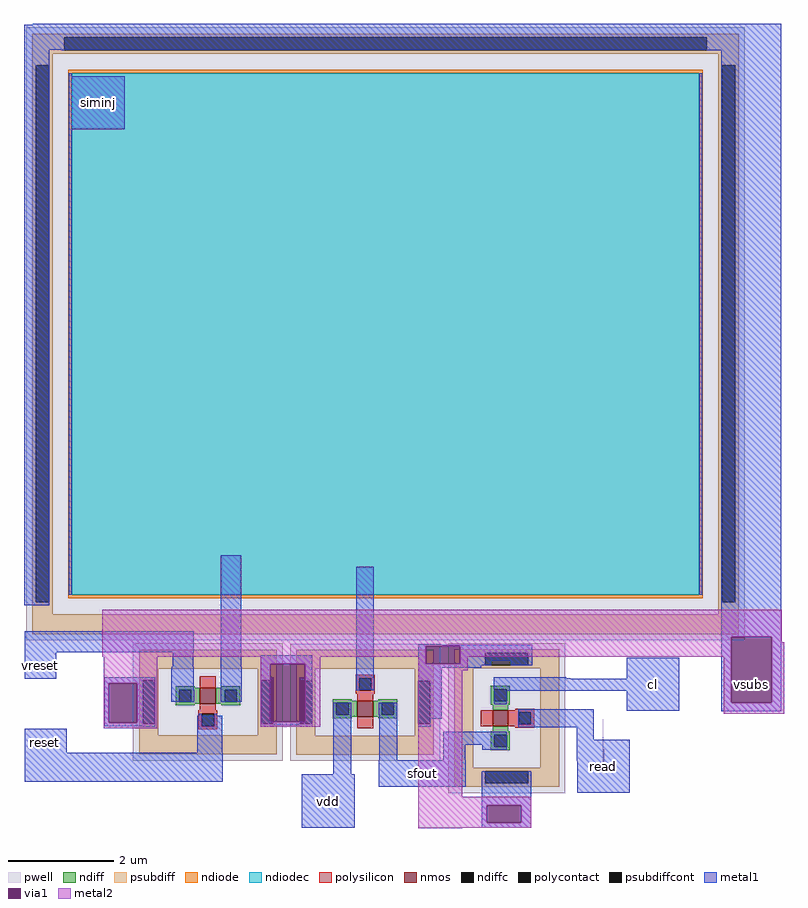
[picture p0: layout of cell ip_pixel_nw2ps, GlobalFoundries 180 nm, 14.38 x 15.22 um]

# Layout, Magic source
magic
tech gf180mcuD
magscale 1 10
<< pwell >>
rect 1356 -1927 1441 -1799
rect 1542 -1927 1622 -1797
rect 1460 -2082 1530 -1974
rect 1408 -2150 1530 -2082
rect 2989 -2106 2990 -1994
rect 2989 -2193 2994 -2106
<< metal1 >>
rect 831 635 3664 638
rect 798 540 3664 635
rect 798 -1562 893 540
rect 3392 538 3664 540
rect 980 240 1180 440
rect 800 -1740 1440 -1660
rect 800 -1840 920 -1740
rect 1360 -1795 1439 -1740
rect 1357 -1799 1441 -1795
rect 1543 -1797 1621 -1373
rect 1693 -1783 1889 -1751
rect 1101 -1857 1294 -1834
rect 1101 -2006 1119 -1857
rect 1226 -2006 1294 -1857
rect 1356 -1927 1441 -1799
rect 1542 -1927 1622 -1797
rect 1101 -2020 1294 -2006
rect 800 -2120 960 -2030
rect 1453 -2120 1548 -1980
rect 1693 -2002 1729 -1783
rect 1863 -2002 1889 -1783
rect 2056 -1882 2122 -1417
rect 3437 -1681 3664 538
rect 2290 -1711 2378 -1710
rect 2290 -1717 2721 -1711
rect 2290 -1784 2319 -1717
rect 2448 -1772 2721 -1717
rect 2448 -1784 2566 -1772
rect 2290 -1788 2566 -1784
rect 2640 -1788 2721 -1772
rect 2290 -1799 2528 -1788
rect 1693 -2015 1889 -2002
rect 800 -2230 1550 -2120
rect 1968 -2202 2036 -1931
rect 2142 -2149 2210 -1930
rect 2290 -1992 2378 -1799
rect 2575 -1839 2850 -1834
rect 2575 -1840 2866 -1839
rect 3078 -1840 3278 -1761
rect 2575 -1880 3278 -1840
rect 2576 -1885 3278 -1880
rect 2577 -1934 2624 -1885
rect 2851 -1886 3278 -1885
rect 2290 -2021 2337 -1992
rect 2669 -2023 2955 -1955
rect 3078 -1961 3278 -1886
rect 3437 -1930 3475 -1681
rect 3627 -1930 3664 -1681
rect 3437 -1962 3664 -1930
rect 2434 -2041 2624 -2040
rect 2384 -2090 2624 -2041
rect 2384 -2149 2468 -2090
rect 2533 -2109 2624 -2090
rect 2890 -2071 2955 -2023
rect 1850 -2403 2050 -2202
rect 2141 -2249 2469 -2149
rect 2890 -2150 3091 -2071
rect 2531 -2318 2718 -2191
rect 2891 -2271 3091 -2150
rect 2531 -2385 2550 -2318
rect 2679 -2385 2718 -2318
rect 2531 -2404 2718 -2385
<< via1 >>
rect 1119 -2006 1226 -1857
rect 1729 -2002 1863 -1783
rect 2319 -1784 2448 -1717
rect 3475 -1930 3627 -1681
rect 2550 -2385 2679 -2318
<< metal2 >>
rect 1095 -1681 3665 -1579
rect 1095 -1717 3475 -1681
rect 1095 -1757 2319 -1717
rect 1099 -1857 1302 -1757
rect 1099 -2006 1119 -1857
rect 1226 -2006 1302 -1857
rect 1099 -2027 1302 -2006
rect 1693 -1783 1919 -1757
rect 1693 -2002 1729 -1783
rect 1863 -2002 1919 -1783
rect 1693 -2022 1919 -2002
rect 2289 -1784 2319 -1757
rect 2448 -1757 3475 -1717
rect 2448 -1784 2478 -1757
rect 2289 -1807 2478 -1784
rect 2289 -2286 2456 -1807
rect 3446 -1930 3475 -1757
rect 3627 -1702 3665 -1681
rect 3627 -1930 3674 -1702
rect 3446 -1972 3674 -1930
rect 2289 -2318 2718 -2286
rect 2289 -2385 2550 -2318
rect 2679 -2385 2718 -2318
rect 2289 -2404 2718 -2385
rect 2289 -2405 2456 -2404
use diode_nd2ps_03v3_CGBUZ2  D1
transform 1 0 2166 0 1 -535
box -1360 -1160 1360 1160
use nfet_03v3_8EWM8R  M1
transform -1 0 1494 0 -1 -1928
box -284 -222 284 222
use nfet_03v3_8EWM8R  M2
transform 1 0 2089 0 1 -1929
box -284 -222 284 222
use nfet_03v3_8EWM8R  M3
transform 0 1 2625 -1 0 -1989
box -284 -222 284 222
<< labels >>
flabel metal1 980 240 1180 440 0 FreeSans 1600 0 0 0 siminj
port 2 nsew
flabel metal1 2891 -2271 3091 -2071 0 FreeSans 480 0 0 0 read
port 4 nsew
flabel metal1 3078 -1961 3278 -1761 0 FreeSans 480 0 0 0 cl
port 3 nsew
flabel metal1 2141 -2249 2469 -2149 0 FreeSans 160 0 0 0 sfout
flabel metal1 1850 -2403 2050 -2203 0 FreeSans 480 0 0 0 vdd
port 5 nsew
flabel metal1 3430 -1960 3670 -1760 0 FreeSans 480 0 0 0 vsubs
port 1 nsew
flabel metal1 810 -1830 910 -1750 0 FreeSans 480 0 0 0 vreset
port 6 nsew
flabel metal1 820 -2120 930 -2040 0 FreeSans 480 0 0 0 reset
port 7 nsew
<< end >>

# cell diode_nd2ps_03v3_CGBUZ2: kit device diode_nd2ps_03v3, w 12 l 10 area 120.0 peri 44.0 nx 1 ny 1 dummy 0 lmin 0.45 wmin 0.45 class diode elc 1 erc 1 etc 1 ebc 0 doverlap 0 full_metal 0 compatible {diode_nd2ps_03v3 diode_nd2ps_06v0}

# cell nfet_03v3_8EWM8R: kit device nfet_03v3, w 0.3 l 0.3 m 1 nf 1 diffcov 100 polycov 100 guard 1 glc 1 grc 1 gtc 0 gbc 0 tbcov 100 rlcov 100 topc 1 botc 0 poverlap 0 doverlap 1 lmin 0.28 wmin 0.22 class mosfet full_metal 0 compatible {nfet_03v3 nfet_05v0 nfet_06v0 nfet_06v0_nvt}
